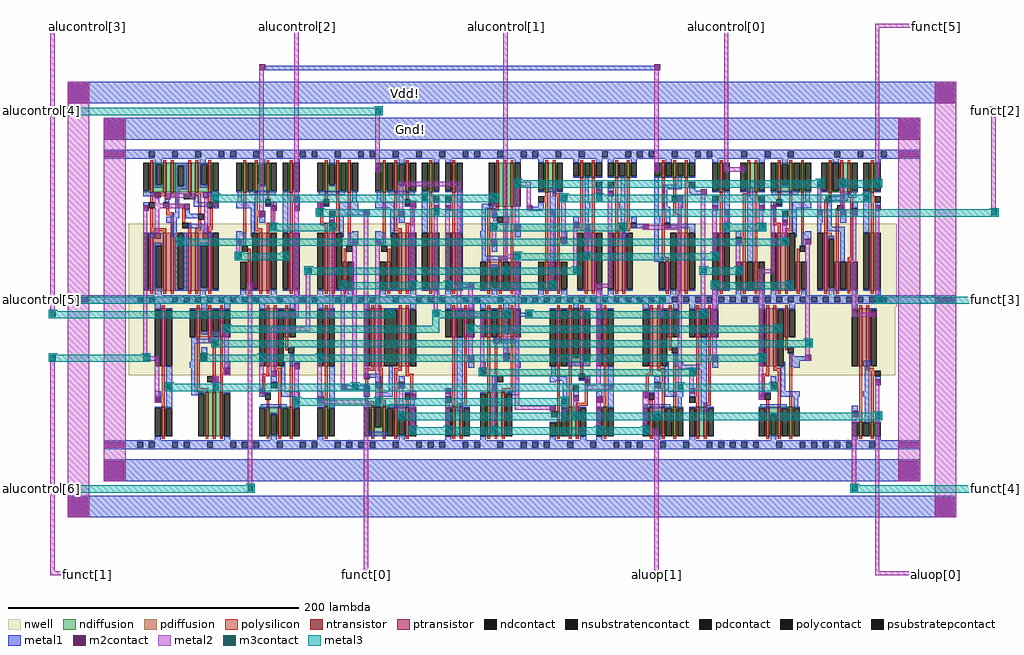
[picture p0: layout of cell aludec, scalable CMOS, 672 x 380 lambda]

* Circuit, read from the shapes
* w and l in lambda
.subckt aludec Gnd! Vdd! alucontrol[0] alucontrol[1] alucontrol[2] alucontrol[3] alucontrol[4] alucontrol[5] alucontrol[6] aluop[0] aluop[1] funct[0] funct[1] funct[2] funct[3] funct[4] funct[5]
M1 Gnd! funct[1] n1 Gnd! nfet w=20 l=2
M2 NAND3X1_1/B funct[1] Gnd! Gnd! nfet w=20 l=2
M3 n2 funct[1] Gnd! Gnd! nfet w=20 l=2
M4 OAI21X1_3/B n3 n2 Gnd! nfet w=20 l=2
M5 n4 XNOR2X1_0/A OAI21X1_3/B Gnd! nfet w=20 l=2
M6 Gnd! n1 n4 Gnd! nfet w=20 l=2
M7 n5 funct[0] OAI21X1_3/C Gnd! nfet w=30 l=2
M8 n3 XNOR2X1_0/A Gnd! Gnd! nfet w=20 l=2
M9 n6 NAND3X1_1/B n5 Gnd! nfet w=30 l=2
M10 Gnd! funct[2] n6 Gnd! nfet w=30 l=2
M11 n7 OAI21X1_0/C alucontrol[6] Gnd! nfet w=20 l=2
M12 Gnd! OAI21X1_0/B n7 Gnd! nfet w=20 l=2
M13 Gnd! funct[0] n8 Gnd! nfet w=20 l=2
M14 n7 OAI21X1_0/A Gnd! Gnd! nfet w=20 l=2
M15 n8 NOR2X1_0/B Gnd! Gnd! nfet w=20 l=2
M16 alucontrol[2] OAI21X1_2/C n8 Gnd! nfet w=20 l=2
M17 Gnd! alucontrol[2] OAI21X1_0/C Gnd! nfet w=20 l=2
M18 OAI21X1_0/A funct[0] Gnd! Gnd! nfet w=20 l=2
M19 Gnd! funct[2] n9 Gnd! nfet w=20 l=2
M20 n9 OAI21X1_0/A Gnd! Gnd! nfet w=20 l=2
M21 OAI22X1_0/D NAND3X1_1/B n9 Gnd! nfet w=20 l=2
M22 alucontrol[3] INVX2_2/A n10 Gnd! nfet w=20 l=2
M23 n10 OAI22X1_0/D alucontrol[3] Gnd! nfet w=20 l=2
M24 n11 OAI21X1_2/C alucontrol[4] Gnd! nfet w=20 l=2
M25 Gnd! aluop[0] n10 Gnd! nfet w=20 l=2
M26 Gnd! OAI21X1_2/B n11 Gnd! nfet w=20 l=2
M27 n10 aluop[1] Gnd! Gnd! nfet w=20 l=2
M28 n11 INVX2_2/A Gnd! Gnd! nfet w=20 l=2
M29 Gnd! funct[2] XNOR2X1_0/A Gnd! nfet w=20 l=2
M30 n12 aluop[1] Gnd! Gnd! nfet w=20 l=2
M31 NAND2X1_3/A INVX2_2/A Gnd! Gnd! nfet w=20 l=2
M32 OAI21X1_2/B NAND2X1_2/B n12 Gnd! nfet w=20 l=2
M33 n13 NAND2X1_3/A Gnd! Gnd! nfet w=30 l=2
M34 n14 aluop[1] n13 Gnd! nfet w=30 l=2
M35 n15 NAND3X1_0/C NOR2X1_0/B Gnd! nfet w=30 l=2
M36 OR2X1_0/A funct[2] n14 Gnd! nfet w=30 l=2
M37 n16 XNOR2X1_0/A n15 Gnd! nfet w=30 l=2
M38 Gnd! NAND2X1_0/A n16 Gnd! nfet w=30 l=2
M39 n17 NAND2X1_0/A Gnd! Gnd! nfet w=20 l=2
M40 INVX2_2/A NOR2X1_0/A n17 Gnd! nfet w=20 l=2
M41 OAI21X1_2/C alucontrol[1] Gnd! Gnd! nfet w=10 l=2
M42 n18 aluop[0] OAI21X1_2/C Gnd! nfet w=20 l=2
M43 Gnd! AOI21X1_0/A n18 Gnd! nfet w=20 l=2
M44 alucontrol[1] NOR2X1_0/B Gnd! Gnd! nfet w=10 l=2
M45 Gnd! NOR2X1_0/A alucontrol[1] Gnd! nfet w=10 l=2
M46 AOI21X1_0/A aluop[1] Gnd! Gnd! nfet w=20 l=2
M47 NAND3X1_0/C AOI21X1_0/A Gnd! Gnd! nfet w=10 l=2
M48 Gnd! NAND3X1_1/B NAND3X1_0/C Gnd! nfet w=10 l=2
M49 Gnd! aluop[1] n19 Gnd! nfet w=20 l=2
M50 n19 aluop[0] Gnd! Gnd! nfet w=20 l=2
M51 Gnd! n20 OAI21X1_0/B Gnd! nfet w=10 l=2
M52 alucontrol[5] OAI21X1_5/C n19 Gnd! nfet w=20 l=2
M53 n20 NAND3X1_1/B Gnd! Gnd! nfet w=10 l=2
M54 Gnd! OR2X1_0/A n20 Gnd! nfet w=10 l=2
M55 n21 NAND2X1_3/A Gnd! Gnd! nfet w=20 l=2
M56 OAI21X1_5/C NAND2X1_3/B n21 Gnd! nfet w=20 l=2
M57 NAND2X1_1/A alucontrol[1] Gnd! Gnd! nfet w=20 l=2
M58 n22 OR2X1_0/A alucontrol[0] Gnd! nfet w=20 l=2
M59 Gnd! NAND2X1_1/A n22 Gnd! nfet w=20 l=2
M60 Gnd! funct[0] n23 Gnd! nfet w=20 l=2
M61 n23 NAND3X1_1/B Gnd! Gnd! nfet w=20 l=2
M62 Gnd! funct[0] n24 Gnd! nfet w=20 l=2
M63 NAND2X1_2/B OAI21X1_3/C n23 Gnd! nfet w=20 l=2
M64 n24 OAI21X1_3/B Gnd! Gnd! nfet w=20 l=2
M65 NAND2X1_3/B OAI21X1_3/C n24 Gnd! nfet w=20 l=2
M66 Gnd! n25 NAND2X1_0/A Gnd! nfet w=20 l=2
M67 n26 funct[5] Gnd! Gnd! nfet w=20 l=2
M68 n25 AND2X2_0/A n26 Gnd! nfet w=20 l=2
M69 AND2X2_0/A funct[4] Gnd! Gnd! nfet w=10 l=2
M70 Gnd! aluop[0] AND2X2_0/A Gnd! nfet w=10 l=2
M71 Gnd! funct[3] NOR2X1_0/A Gnd! nfet w=20 l=2
M72 Vdd! funct[1] n1 Vdd! pfet w=40 l=2
M73 NAND3X1_1/B funct[1] Vdd! Vdd! pfet w=40 l=2
M74 n27 funct[1] Vdd! Vdd! pfet w=40 l=2
M75 OAI21X1_3/B XNOR2X1_0/A n27 Vdd! pfet w=40 l=2
M76 n28 n3 OAI21X1_3/B Vdd! pfet w=40 l=2
M77 Vdd! n1 n28 Vdd! pfet w=40 l=2
M78 Vdd! funct[0] OAI21X1_3/C Vdd! pfet w=20 l=2
M79 OAI21X1_3/C NAND3X1_1/B Vdd! Vdd! pfet w=20 l=2
M80 n3 XNOR2X1_0/A Vdd! Vdd! pfet w=40 l=2
M81 Vdd! funct[2] OAI21X1_3/C Vdd! pfet w=20 l=2
M82 alucontrol[6] OAI21X1_0/C Vdd! Vdd! pfet w=20 l=2
M83 n29 OAI21X1_0/B alucontrol[6] Vdd! pfet w=40 l=2
M84 n30 funct[0] Vdd! Vdd! pfet w=40 l=2
M85 Vdd! OAI21X1_0/A n29 Vdd! pfet w=40 l=2
M86 alucontrol[2] NOR2X1_0/B n30 Vdd! pfet w=40 l=2
M87 Vdd! OAI21X1_2/C alucontrol[2] Vdd! pfet w=20 l=2
M88 Vdd! alucontrol[2] OAI21X1_0/C Vdd! pfet w=40 l=2
M89 OAI21X1_0/A funct[0] Vdd! Vdd! pfet w=40 l=2
M90 n31 funct[2] Vdd! Vdd! pfet w=40 l=2
M91 OAI22X1_0/D OAI21X1_0/A n31 Vdd! pfet w=40 l=2
M92 Vdd! NAND3X1_1/B OAI22X1_0/D Vdd! pfet w=20 l=2
M93 n32 INVX2_2/A Vdd! Vdd! pfet w=40 l=2
M94 alucontrol[3] OAI22X1_0/D n32 Vdd! pfet w=40 l=2
M95 alucontrol[4] OAI21X1_2/C Vdd! Vdd! pfet w=20 l=2
M96 n33 aluop[0] alucontrol[3] Vdd! pfet w=40 l=2
M97 n34 OAI21X1_2/B alucontrol[4] Vdd! pfet w=40 l=2
M98 Vdd! aluop[1] n33 Vdd! pfet w=40 l=2
M99 Vdd! INVX2_2/A n34 Vdd! pfet w=40 l=2
M100 Vdd! funct[2] XNOR2X1_0/A Vdd! pfet w=40 l=2
M101 OAI21X1_2/B aluop[1] Vdd! Vdd! pfet w=20 l=2
M102 NAND2X1_3/A INVX2_2/A Vdd! Vdd! pfet w=40 l=2
M103 Vdd! NAND2X1_2/B OAI21X1_2/B Vdd! pfet w=20 l=2
M104 OR2X1_0/A NAND2X1_3/A Vdd! Vdd! pfet w=20 l=2
M105 Vdd! NAND3X1_0/C NOR2X1_0/B Vdd! pfet w=20 l=2
M106 Vdd! aluop[1] OR2X1_0/A Vdd! pfet w=20 l=2
M107 NOR2X1_0/B XNOR2X1_0/A Vdd! Vdd! pfet w=20 l=2
M108 OR2X1_0/A funct[2] Vdd! Vdd! pfet w=20 l=2
M109 Vdd! NAND2X1_0/A NOR2X1_0/B Vdd! pfet w=20 l=2
M110 INVX2_2/A NAND2X1_0/A Vdd! Vdd! pfet w=20 l=2
M111 n35 alucontrol[1] OAI21X1_2/C Vdd! pfet w=40 l=2
M112 Vdd! NOR2X1_0/A INVX2_2/A Vdd! pfet w=20 l=2
M113 Vdd! aluop[0] n35 Vdd! pfet w=40 l=2
M114 n35 AOI21X1_0/A Vdd! Vdd! pfet w=40 l=2
M115 n36 NOR2X1_0/B alucontrol[1] Vdd! pfet w=40 l=2
M116 Vdd! NOR2X1_0/A n36 Vdd! pfet w=40 l=2
M117 AOI21X1_0/A aluop[1] Vdd! Vdd! pfet w=40 l=2
M118 n37 AOI21X1_0/A Vdd! Vdd! pfet w=40 l=2
M119 NAND3X1_0/C NAND3X1_1/B n37 Vdd! pfet w=40 l=2
M120 n38 aluop[1] Vdd! Vdd! pfet w=40 l=2
M121 alucontrol[5] aluop[0] n38 Vdd! pfet w=40 l=2
M122 Vdd! n20 OAI21X1_0/B Vdd! pfet w=20 l=2
M123 Vdd! OAI21X1_5/C alucontrol[5] Vdd! pfet w=20 l=2
M124 n39 NAND3X1_1/B Vdd! Vdd! pfet w=40 l=2
M125 n20 OR2X1_0/A n39 Vdd! pfet w=40 l=2
M126 OAI21X1_5/C NAND2X1_3/A Vdd! Vdd! pfet w=20 l=2
M127 Vdd! NAND2X1_3/B OAI21X1_5/C Vdd! pfet w=20 l=2
M128 NAND2X1_1/A alucontrol[1] Vdd! Vdd! pfet w=40 l=2
M129 alucontrol[0] OR2X1_0/A Vdd! Vdd! pfet w=20 l=2
M130 Vdd! NAND2X1_1/A alucontrol[0] Vdd! pfet w=20 l=2
M131 n40 funct[0] Vdd! Vdd! pfet w=40 l=2
M132 NAND2X1_2/B NAND3X1_1/B n40 Vdd! pfet w=40 l=2
M133 n41 funct[0] Vdd! Vdd! pfet w=40 l=2
M134 Vdd! OAI21X1_3/C NAND2X1_2/B Vdd! pfet w=20 l=2
M135 NAND2X1_3/B OAI21X1_3/B n41 Vdd! pfet w=40 l=2
M136 Vdd! OAI21X1_3/C NAND2X1_3/B Vdd! pfet w=20 l=2
M137 Vdd! n25 NAND2X1_0/A Vdd! pfet w=40 l=2
M138 n25 funct[5] Vdd! Vdd! pfet w=20 l=2
M139 Vdd! AND2X2_0/A n25 Vdd! pfet w=20 l=2
M140 n42 funct[4] Vdd! Vdd! pfet w=40 l=2
M141 AND2X2_0/A aluop[0] n42 Vdd! pfet w=40 l=2
M142 Vdd! funct[3] NOR2X1_0/A Vdd! pfet w=40 l=2
.ends

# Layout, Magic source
magic
tech scmos
<< metal1 >>
rect 162 348 437 351
rect 30 325 642 340
rect 55 300 617 315
rect 55 287 617 293
rect 459 262 469 265
rect 449 257 454 261
rect 217 251 230 253
rect 346 251 357 254
rect 217 248 237 251
rect 323 244 326 249
rect 546 243 550 252
rect 562 243 566 252
rect 146 228 153 236
rect 223 228 230 236
rect 242 228 249 236
rect 386 232 390 242
rect 410 232 414 242
rect 418 239 429 242
rect 535 228 542 236
rect 298 198 309 201
rect 30 187 642 193
rect 339 178 349 181
rect 130 158 134 168
rect 527 148 541 151
rect 451 142 469 145
rect 527 144 534 148
rect 234 136 245 139
rect 218 128 237 131
rect 322 128 326 137
rect 370 112 374 122
rect 55 87 617 93
rect 55 65 617 80
rect 30 40 642 55
<< metal2 >>
rect 18 377 45 380
rect 18 178 21 377
rect 18 3 21 151
rect 30 40 45 340
rect 55 65 70 315
rect 82 151 85 254
rect 162 247 165 351
rect 170 238 173 254
rect 146 218 149 231
rect 82 148 93 151
rect 90 119 93 148
rect 138 138 141 171
rect 130 128 134 137
rect 154 58 157 201
rect 186 181 189 380
rect 242 278 245 321
rect 258 268 301 271
rect 202 248 206 257
rect 176 178 189 181
rect 194 171 197 211
rect 210 178 213 241
rect 170 168 197 171
rect 162 125 165 151
rect 170 137 173 168
rect 186 118 189 145
rect 202 121 205 151
rect 218 128 221 201
rect 226 128 229 231
rect 234 136 237 251
rect 258 247 261 268
rect 202 118 237 121
rect 242 118 245 231
rect 266 198 269 257
rect 282 178 285 251
rect 290 198 293 254
rect 298 178 301 268
rect 322 246 325 261
rect 322 228 325 241
rect 330 221 333 380
rect 434 278 437 351
rect 482 281 485 380
rect 586 377 629 380
rect 482 278 496 281
rect 338 268 349 271
rect 338 238 341 268
rect 346 251 349 268
rect 330 218 341 221
rect 306 181 309 201
rect 306 178 317 181
rect 306 148 309 171
rect 314 138 317 178
rect 330 148 333 181
rect 18 0 45 3
rect 234 0 237 118
rect 258 108 261 132
rect 266 98 269 124
rect 290 98 293 128
rect 322 98 325 131
rect 338 117 341 218
rect 362 198 365 251
rect 370 228 373 261
rect 378 208 381 243
rect 386 218 389 241
rect 402 201 405 264
rect 450 241 453 261
rect 426 238 453 241
rect 394 198 405 201
rect 394 131 397 198
rect 437 178 440 191
rect 386 128 405 131
rect 338 114 365 117
rect 378 108 381 123
rect 394 98 397 123
rect 426 118 430 126
rect 426 101 429 118
rect 434 108 437 132
rect 450 128 453 238
rect 466 178 469 265
rect 474 218 477 254
rect 482 238 485 251
rect 506 238 509 254
rect 490 208 493 231
rect 514 211 517 254
rect 546 248 549 271
rect 562 248 565 271
rect 586 268 589 377
rect 522 228 525 244
rect 506 208 517 211
rect 474 148 477 201
rect 458 125 461 141
rect 506 121 509 208
rect 538 148 541 231
rect 570 181 573 251
rect 586 188 589 254
rect 570 178 586 181
rect 426 98 437 101
rect 434 0 437 98
rect 570 58 573 112
rect 586 3 589 134
rect 602 65 617 315
rect 627 40 642 340
rect 666 248 669 321
rect 586 0 629 3
<< metal3 >>
rect 0 317 246 322
rect 667 317 672 322
rect 337 267 550 272
rect 561 267 590 272
rect 129 257 326 262
rect 369 257 582 262
rect 201 247 670 252
rect 169 237 214 242
rect 321 237 414 242
rect 481 237 510 242
rect 105 227 526 232
rect 145 217 182 222
rect 337 217 478 222
rect 193 207 382 212
rect 465 207 494 212
rect 217 197 366 202
rect 473 197 529 202
rect 0 187 441 192
rect 585 187 672 192
rect 17 177 254 182
rect 281 177 334 182
rect 345 177 470 182
rect 281 172 286 177
rect 137 167 286 172
rect 305 167 521 172
rect 129 157 542 162
rect 17 147 86 152
rect 121 147 510 152
rect 313 137 462 142
rect 97 127 518 132
rect 185 117 374 122
rect 257 107 590 112
rect 265 97 430 102
rect 0 57 158 62
rect 569 57 672 62
use $$M2_M1  $$M2_M1_0
transform 1 0 164 0 1 350
box -2 -2 2 2
use $$M2_M1  $$M2_M1_1
transform 1 0 436 0 1 350
box -2 -2 2 2
use $$M2_M1_1500_1500_3_3  $$M2_M1_1500_1500_3_3_0
transform 1 0 37 0 1 332
box -7 -7 7 7
use $$M2_M1_1500_1500_3_3  $$M2_M1_1500_1500_3_3_1
transform 1 0 634 0 1 332
box -7 -7 7 7
use $$M3_M2  $$M3_M2_0
transform 1 0 244 0 1 320
box -3 -3 3 3
use $$M3_M2  $$M3_M2_1
transform 1 0 668 0 1 320
box -3 -3 3 3
use $$M2_M1_1500_1500_3_3  $$M2_M1_1500_1500_3_3_2
transform 1 0 62 0 1 307
box -7 -7 7 7
use $$M2_M1_1500_1500_3_3  $$M2_M1_1500_1500_3_3_3
transform 1 0 609 0 1 307
box -7 -7 7 7
use $$M2_M1_1500_1500_3_1  $$M2_M1_1500_1500_3_1_0
transform 1 0 62 0 1 290
box -7 -2 7 2
use $$M3_M2  $$M3_M2_2
transform 1 0 132 0 1 260
box -3 -3 3 3
use $$M2_M1  $$M2_M1_3
transform 1 0 84 0 1 253
box -2 -2 2 2
use $$M2_M1  $$M2_M1_2
transform 1 0 132 0 1 256
box -2 -2 2 2
use $$M2_M1  $$M2_M1_4
transform 1 0 108 0 1 230
box -2 -2 2 2
use $$M3_M2  $$M3_M2_3
transform 1 0 108 0 1 230
box -3 -3 3 3
use $$M2_M1  $$M2_M1_5
transform 1 0 172 0 1 253
box -2 -2 2 2
use $$M2_M1  $$M2_M1_6
transform 1 0 188 0 1 253
box -2 -2 2 2
use $$M2_M1  $$M2_M1_7
transform 1 0 164 0 1 249
box -2 -2 2 2
use $$M2_M1  $$M2_M1_8
transform 1 0 148 0 1 230
box -2 -2 2 2
use $$M3_M2  $$M3_M2_5
transform 1 0 148 0 1 220
box -3 -3 3 3
use $$M3_M2  $$M3_M2_4
transform 1 0 172 0 1 240
box -3 -3 3 3
use $$M2_M1  $$M2_M1_9
transform 1 0 180 0 1 220
box -2 -2 2 2
use $$M3_M2  $$M3_M2_6
transform 1 0 180 0 1 220
box -3 -3 3 3
use $$M2_M1  $$M2_M1_10
transform 1 0 158 0 1 200
box -2 -2 2 2
use $$M2_M1  $$M2_M1_11
transform 1 0 204 0 1 255
box -2 -2 2 2
use $$M3_M2  $$M3_M2_7
transform 1 0 204 0 1 250
box -3 -3 3 3
use $$M3_M2  $$M3_M2_10
transform 1 0 196 0 1 210
box -3 -3 3 3
use $$M2_M1  $$M2_M1_16
transform 1 0 212 0 1 243
box -2 -2 2 2
use $$M3_M2  $$M3_M2_9
transform 1 0 212 0 1 240
box -3 -3 3 3
use $$M2_M1  $$M2_M1_12
transform 1 0 244 0 1 280
box -2 -2 2 2
use $$M2_M1  $$M2_M1_13
transform 1 0 236 0 1 250
box -2 -2 2 2
use $$M2_M1  $$M2_M1_17
transform 1 0 228 0 1 230
box -2 -2 2 2
use $$M3_M2  $$M3_M2_11
transform 1 0 220 0 1 200
box -3 -3 3 3
use $$M2_M1  $$M2_M1_14
transform 1 0 276 0 1 260
box -2 -2 2 2
use $$M2_M1  $$M2_M1_15
transform 1 0 268 0 1 256
box -2 -2 2 2
use $$M3_M2  $$M3_M2_8
transform 1 0 276 0 1 260
box -3 -3 3 3
use $$M2_M1  $$M2_M1_18
transform 1 0 260 0 1 249
box -2 -2 2 2
use $$M2_M1  $$M2_M1_19
transform 1 0 244 0 1 230
box -2 -2 2 2
use $$M3_M2  $$M3_M2_12
transform 1 0 268 0 1 200
box -3 -3 3 3
use $$M2_M1  $$M2_M1_20
transform 1 0 284 0 1 253
box -2 -2 2 2
use $$M2_M1  $$M2_M1_21
transform 1 0 292 0 1 253
box -2 -2 2 2
use $$M3_M2  $$M3_M2_13
transform 1 0 284 0 1 250
box -3 -3 3 3
use $$M3_M2  $$M3_M2_14
transform 1 0 292 0 1 200
box -3 -3 3 3
use $$M2_M1  $$M2_M1_27
transform 1 0 308 0 1 200
box -2 -2 2 2
use $$M3_M2  $$M3_M2_15
transform 1 0 340 0 1 270
box -3 -3 3 3
use $$M3_M2  $$M3_M2_16
transform 1 0 324 0 1 260
box -3 -3 3 3
use $$M2_M1  $$M2_M1_23
transform 1 0 324 0 1 248
box -2 -2 2 2
use $$M3_M2  $$M3_M2_17
transform 1 0 324 0 1 240
box -3 -3 3 3
use $$M2_M1  $$M2_M1_22
transform 1 0 348 0 1 253
box -2 -2 2 2
use $$M2_M1  $$M2_M1_24
transform 1 0 340 0 1 240
box -2 -2 2 2
use $$M2_M1  $$M2_M1_25
transform 1 0 324 0 1 230
box -2 -2 2 2
use $$M3_M2  $$M3_M2_18
transform 1 0 340 0 1 220
box -3 -3 3 3
use $$M2_M1  $$M2_M1_26
transform 1 0 332 0 1 210
box -2 -2 2 2
use $$M3_M2  $$M3_M2_19
transform 1 0 332 0 1 210
box -3 -3 3 3
use $$M3_M2  $$M3_M2_20
transform 1 0 372 0 1 260
box -3 -3 3 3
use $$M2_M1  $$M2_M1_28
transform 1 0 364 0 1 250
box -2 -2 2 2
use $$M2_M1  $$M2_M1_29
transform 1 0 380 0 1 241
box -2 -2 2 2
use $$M2_M1  $$M2_M1_30
transform 1 0 396 0 1 264
box -2 -2 2 2
use $$M3_M2  $$M3_M2_21
transform 1 0 396 0 1 260
box -3 -3 3 3
use $$M2_M1  $$M2_M1_31
transform 1 0 404 0 1 263
box -2 -2 2 2
use $$M2_M1  $$M2_M1_32
transform 1 0 388 0 1 240
box -2 -2 2 2
use $$M2_M1  $$M2_M1_33
transform 1 0 372 0 1 230
box -2 -2 2 2
use $$M3_M2  $$M3_M2_22
transform 1 0 388 0 1 220
box -3 -3 3 3
use $$M3_M2  $$M3_M2_23
transform 1 0 380 0 1 210
box -3 -3 3 3
use $$M3_M2  $$M3_M2_24
transform 1 0 364 0 1 200
box -3 -3 3 3
use $$M2_M1  $$M2_M1_37
transform 1 0 412 0 1 240
box -2 -2 2 2
use $$M3_M2  $$M3_M2_25
transform 1 0 412 0 1 240
box -3 -3 3 3
use $$M2_M1  $$M2_M1_34
transform 1 0 436 0 1 280
box -2 -2 2 2
use $$M2_M1  $$M2_M1_38
transform 1 0 428 0 1 240
box -2 -2 2 2
use $$M2_M1  $$M2_M1_36
transform 1 0 452 0 1 260
box -2 -2 2 2
use $$M2_M1  $$M2_M1_35
transform 1 0 468 0 1 264
box -2 -2 2 2
use $$M2_M1  $$M2_M1_39
transform 1 0 495 0 1 280
box -2 -2 2 2
use $$M2_M1  $$M2_M1_40
transform 1 0 476 0 1 253
box -2 -2 2 2
use $$M2_M1  $$M2_M1_41
transform 1 0 484 0 1 250
box -2 -2 2 2
use $$M3_M2  $$M3_M2_26
transform 1 0 484 0 1 240
box -3 -3 3 3
use $$M2_M1  $$M2_M1_42
transform 1 0 492 0 1 230
box -2 -2 2 2
use $$M3_M2  $$M3_M2_27
transform 1 0 476 0 1 220
box -3 -3 3 3
use $$M3_M2  $$M3_M2_28
transform 1 0 468 0 1 210
box -3 -3 3 3
use $$M3_M2  $$M3_M2_29
transform 1 0 492 0 1 210
box -3 -3 3 3
use $$M3_M2  $$M3_M2_30
transform 1 0 476 0 1 200
box -3 -3 3 3
use $$M2_M1  $$M2_M1_43
transform 1 0 508 0 1 253
box -2 -2 2 2
use $$M2_M1  $$M2_M1_44
transform 1 0 516 0 1 253
box -2 -2 2 2
use $$M2_M1_1500_1500_3_1  $$M2_M1_1500_1500_3_1_1
transform 1 0 609 0 1 290
box -7 -2 7 2
use $$M3_M2  $$M3_M2_32
transform 1 0 548 0 1 270
box -3 -3 3 3
use $$M3_M2  $$M3_M2_33
transform 1 0 564 0 1 270
box -3 -3 3 3
use $$M3_M2  $$M3_M2_34
transform 1 0 588 0 1 270
box -3 -3 3 3
use $$M3_M2  $$M3_M2_31
transform 1 0 508 0 1 240
box -3 -3 3 3
use $$M2_M1  $$M2_M1_45
transform 1 0 524 0 1 243
box -2 -2 2 2
use $$M3_M2  $$M3_M2_36
transform 1 0 524 0 1 230
box -3 -3 3 3
use $$M2_M1  $$M2_M1_46
transform 1 0 580 0 1 260
box -2 -2 2 2
use $$M3_M2  $$M3_M2_35
transform 1 0 580 0 1 260
box -3 -3 3 3
use $$M2_M1  $$M2_M1_48
transform 1 0 548 0 1 250
box -2 -2 2 2
use $$M2_M1  $$M2_M1_49
transform 1 0 564 0 1 250
box -2 -2 2 2
use $$M2_M1  $$M2_M1_50
transform 1 0 572 0 1 250
box -2 -2 2 2
use $$M2_M1  $$M2_M1_47
transform 1 0 588 0 1 253
box -2 -2 2 2
use $$M2_M1  $$M2_M1_51
transform 1 0 540 0 1 230
box -2 -2 2 2
use $$M2_M1  $$M2_M1_52
transform 1 0 527 0 1 200
box -2 -2 2 2
use $$M3_M2  $$M3_M2_37
transform 1 0 527 0 1 200
box -3 -3 3 3
use $$M3_M2  $$M3_M2_38
transform 1 0 668 0 1 250
box -3 -3 3 3
use $$M2_M1_1500_1500_3_1  $$M2_M1_1500_1500_3_1_2
transform 1 0 37 0 1 190
box -7 -2 7 2
use XNOR2X1  XNOR2X1_0
transform -1 0 136 0 -1 290
box -8 -3 64 105
use FILL  FILL_0
transform 1 0 136 0 -1 290
box -8 -3 16 105
use OAI21X1  OAI21X1_0
transform -1 0 176 0 -1 290
box -8 -3 34 105
use INVX2  INVX2_0
transform -1 0 192 0 -1 290
box -9 -3 26 105
use FILL  FILL_1
transform 1 0 192 0 -1 290
box -8 -3 16 105
use OAI21X1  OAI21X1_1
transform 1 0 200 0 -1 290
box -8 -3 34 105
use FILL  FILL_2
transform 1 0 232 0 -1 290
box -8 -3 16 105
use OAI21X1  OAI21X1_2
transform -1 0 272 0 -1 290
box -8 -3 34 105
use INVX2  INVX2_1
transform -1 0 288 0 -1 290
box -9 -3 26 105
use INVX2  INVX2_2
transform 1 0 288 0 -1 290
box -9 -3 26 105
use FILL  FILL_3
transform 1 0 304 0 -1 290
box -8 -3 16 105
use NAND3X1  NAND3X1_0
transform -1 0 344 0 -1 290
box -8 -3 40 105
use FILL  FILL_4
transform 1 0 344 0 -1 290
box -8 -3 16 105
use NAND2X1  NAND2X1_0
transform 1 0 352 0 -1 290
box -8 -3 32 105
use NOR2X1  NOR2X1_0
transform -1 0 400 0 -1 290
box -8 -3 32 105
use NOR2X1  NOR2X1_1
transform 1 0 400 0 -1 290
box -8 -3 32 105
use $$M3_M2  $$M3_M2_39
transform 1 0 439 0 1 190
box -3 -3 3 3
use FILL  FILL_5
transform 1 0 424 0 -1 290
box -8 -3 16 105
use OR2X1  OR2X1_0
transform -1 0 464 0 -1 290
box -8 -3 40 105
use FILL  FILL_6
transform 1 0 464 0 -1 290
box -8 -3 16 105
use INVX2  INVX2_3
transform 1 0 472 0 -1 290
box -9 -3 26 105
use NAND2X1  NAND2X1_1
transform -1 0 512 0 -1 290
box -8 -3 32 105
use OAI21X1  OAI21X1_3
transform 1 0 512 0 -1 290
box -8 -3 34 105
use AND2X2  AND2X2_0
transform -1 0 576 0 -1 290
box -8 -3 40 105
use $$M3_M2  $$M3_M2_40
transform 1 0 588 0 1 190
box -3 -3 3 3
use INVX2  INVX2_4
transform -1 0 592 0 -1 290
box -9 -3 26 105
use $$M2_M1_1500_1500_3_1  $$M2_M1_1500_1500_3_1_3
transform 1 0 634 0 1 190
box -7 -2 7 2
use $$M3_M2  $$M3_M2_41
transform 1 0 20 0 1 180
box -3 -3 3 3
use $$M3_M2  $$M3_M2_42
transform 1 0 20 0 1 150
box -3 -3 3 3
use $$M2_M1_1500_1500_3_1  $$M2_M1_1500_1500_3_1_4
transform 1 0 62 0 1 90
box -7 -2 7 2
use $$M3_M2  $$M3_M2_43
transform 1 0 84 0 1 150
box -3 -3 3 3
use $$M2_M1  $$M2_M1_53
transform 1 0 100 0 1 130
box -2 -2 2 2
use $$M3_M2  $$M3_M2_44
transform 1 0 100 0 1 130
box -3 -3 3 3
use $$M2_M1  $$M2_M1_54
transform 1 0 92 0 1 121
box -2 -2 2 2
use FILL  FILL_7
transform -1 0 88 0 1 90
box -8 -3 16 105
use INVX2  INVX2_5
transform 1 0 88 0 1 90
box -9 -3 26 105
use FILL  FILL_8
transform -1 0 112 0 1 90
box -8 -3 16 105
use $$M3_M2  $$M3_M2_45
transform 1 0 140 0 1 170
box -3 -3 3 3
use $$M2_M1  $$M2_M1_56
transform 1 0 132 0 1 160
box -2 -2 2 2
use $$M3_M2  $$M3_M2_46
transform 1 0 132 0 1 160
box -3 -3 3 3
use $$M2_M1  $$M2_M1_57
transform 1 0 124 0 1 150
box -2 -2 2 2
use $$M3_M2  $$M3_M2_47
transform 1 0 124 0 1 150
box -3 -3 3 3
use $$M2_M1  $$M2_M1_59
transform 1 0 140 0 1 140
box -2 -2 2 2
use $$M2_M1  $$M2_M1_61
transform 1 0 132 0 1 135
box -2 -2 2 2
use $$M3_M2  $$M3_M2_49
transform 1 0 132 0 1 130
box -3 -3 3 3
use NAND3X1  NAND3X1_1
transform -1 0 144 0 1 90
box -8 -3 40 105
use FILL  FILL_9
transform -1 0 152 0 1 90
box -8 -3 16 105
use $$M2_M1  $$M2_M1_55
transform 1 0 177 0 1 180
box -2 -2 2 2
use $$M3_M2  $$M3_M2_48
transform 1 0 164 0 1 150
box -3 -3 3 3
use $$M2_M1  $$M2_M1_58
transform 1 0 188 0 1 144
box -2 -2 2 2
use $$M2_M1  $$M2_M1_60
transform 1 0 172 0 1 139
box -2 -2 2 2
use $$M2_M1  $$M2_M1_62
transform 1 0 164 0 1 127
box -2 -2 2 2
use FILL  FILL_10
transform -1 0 160 0 1 90
box -8 -3 16 105
use $$M3_M2  $$M3_M2_50
transform 1 0 188 0 1 120
box -3 -3 3 3
use OAI21X1  OAI21X1_4
transform 1 0 160 0 1 90
box -8 -3 34 105
use $$M2_M1  $$M2_M1_63
transform 1 0 212 0 1 180
box -2 -2 2 2
use $$M3_M2  $$M3_M2_53
transform 1 0 204 0 1 150
box -3 -3 3 3
use $$M2_M1  $$M2_M1_75
transform 1 0 204 0 1 121
box -2 -2 2 2
use FILL  FILL_11
transform -1 0 200 0 1 90
box -8 -3 16 105
use $$M2_M1  $$M2_M1_64
transform 1 0 252 0 1 180
box -2 -2 2 2
use $$M3_M2  $$M3_M2_51
transform 1 0 252 0 1 180
box -3 -3 3 3
use $$M2_M1  $$M2_M1_66
transform 1 0 236 0 1 137
box -2 -2 2 2
use $$M2_M1  $$M2_M1_68
transform 1 0 220 0 1 130
box -2 -2 2 2
use $$M3_M2  $$M3_M2_54
transform 1 0 228 0 1 130
box -3 -3 3 3
use INVX2  INVX2_6
transform 1 0 200 0 1 90
box -9 -3 26 105
use FILL  FILL_12
transform -1 0 224 0 1 90
box -8 -3 16 105
use FILL  FILL_13
transform -1 0 232 0 1 90
box -8 -3 16 105
use $$M2_M1  $$M2_M1_67
transform 1 0 260 0 1 131
box -2 -2 2 2
use $$M3_M2  $$M3_M2_59
transform 1 0 244 0 1 120
box -3 -3 3 3
use $$M2_M1  $$M2_M1_74
transform 1 0 268 0 1 123
box -2 -2 2 2
use $$M3_M2  $$M3_M2_60
transform 1 0 260 0 1 110
box -3 -3 3 3
use $$M3_M2  $$M3_M2_61
transform 1 0 268 0 1 100
box -3 -3 3 3
use OAI22X1  OAI22X1_0
transform -1 0 272 0 1 90
box -8 -3 46 105
use $$M3_M2  $$M3_M2_52
transform 1 0 284 0 1 180
box -3 -3 3 3
use FILL  FILL_14
transform -1 0 280 0 1 90
box -8 -3 16 105
use $$M2_M1  $$M2_M1_65
transform 1 0 300 0 1 180
box -2 -2 2 2
use $$M2_M1  $$M2_M1_73
transform 1 0 292 0 1 127
box -2 -2 2 2
use $$M3_M2  $$M3_M2_62
transform 1 0 292 0 1 100
box -3 -3 3 3
use FILL  FILL_15
transform -1 0 288 0 1 90
box -8 -3 16 105
use $$M3_M2  $$M3_M2_55
transform 1 0 332 0 1 180
box -3 -3 3 3
use $$M3_M2  $$M3_M2_57
transform 1 0 308 0 1 170
box -3 -3 3 3
use $$M2_M1  $$M2_M1_70
transform 1 0 308 0 1 150
box -2 -2 2 2
use $$M2_M1  $$M2_M1_71
transform 1 0 332 0 1 150
box -2 -2 2 2
use $$M2_M1  $$M2_M1_72
transform 1 0 316 0 1 140
box -2 -2 2 2
use $$M3_M2  $$M3_M2_58
transform 1 0 316 0 1 140
box -3 -3 3 3
use NAND2X1  NAND2X1_2
transform 1 0 288 0 1 90
box -8 -3 32 105
use $$M2_M1  $$M2_M1_76
transform 1 0 324 0 1 130
box -2 -2 2 2
use $$M3_M2  $$M3_M2_63
transform 1 0 324 0 1 100
box -3 -3 3 3
use $$M2_M1  $$M2_M1_69
transform 1 0 348 0 1 180
box -2 -2 2 2
use $$M3_M2  $$M3_M2_56
transform 1 0 348 0 1 180
box -3 -3 3 3
use NAND3X1  NAND3X1_2
transform 1 0 312 0 1 90
box -8 -3 40 105
use FILL  FILL_16
transform -1 0 352 0 1 90
box -8 -3 16 105
use $$M2_M1  $$M2_M1_77
transform 1 0 388 0 1 133
box -2 -2 2 2
use $$M2_M1  $$M2_M1_81
transform 1 0 372 0 1 120
box -2 -2 2 2
use $$M2_M1  $$M2_M1_78
transform 1 0 380 0 1 122
box -2 -2 2 2
use $$M3_M2  $$M3_M2_64
transform 1 0 372 0 1 120
box -3 -3 3 3
use $$M2_M1  $$M2_M1_80
transform 1 0 396 0 1 121
box -2 -2 2 2
use $$M2_M1  $$M2_M1_82
transform 1 0 364 0 1 115
box -2 -2 2 2
use FILL  FILL_17
transform -1 0 360 0 1 90
box -8 -3 16 105
use $$M3_M2  $$M3_M2_65
transform 1 0 380 0 1 110
box -3 -3 3 3
use $$M3_M2  $$M3_M2_66
transform 1 0 396 0 1 100
box -3 -3 3 3
use AOI21X1  AOI21X1_0
transform -1 0 392 0 1 90
box -7 -3 39 105
use $$M2_M1  $$M2_M1_79
transform 1 0 404 0 1 130
box -2 -2 2 2
use INVX2  INVX2_7
transform 1 0 392 0 1 90
box -9 -3 26 105
use FILL  FILL_18
transform -1 0 416 0 1 90
box -8 -3 16 105
use $$M2_M1  $$M2_M1_83
transform 1 0 439 0 1 180
box -2 -2 2 2
use $$M3_M2  $$M3_M2_67
transform 1 0 468 0 1 180
box -3 -3 3 3
use $$M2_M1  $$M2_M1_85
transform 1 0 476 0 1 150
box -2 -2 2 2
use $$M3_M2  $$M3_M2_68
transform 1 0 460 0 1 140
box -3 -3 3 3
use $$M2_M1  $$M2_M1_84
transform 1 0 436 0 1 131
box -2 -2 2 2
use $$M2_M1  $$M2_M1_86
transform 1 0 428 0 1 124
box -2 -2 2 2
use $$M3_M2  $$M3_M2_69
transform 1 0 452 0 1 130
box -3 -3 3 3
use $$M3_M2  $$M3_M2_70
transform 1 0 436 0 1 110
box -3 -3 3 3
use $$M3_M2  $$M3_M2_71
transform 1 0 428 0 1 100
box -3 -3 3 3
use FILL  FILL_19
transform -1 0 424 0 1 90
box -8 -3 16 105
use OAI21X1  OAI21X1_5
transform 1 0 424 0 1 90
box -8 -3 34 105
use $$M2_M1  $$M2_M1_87
transform 1 0 460 0 1 127
box -2 -2 2 2
use NAND2X1  NAND2X1_3
transform 1 0 456 0 1 90
box -8 -3 32 105
use FILL  FILL_20
transform -1 0 488 0 1 90
box -8 -3 16 105
use FILL  FILL_21
transform -1 0 496 0 1 90
box -8 -3 16 105
use $$M2_M1  $$M2_M1_88
transform 1 0 519 0 1 170
box -2 -2 2 2
use $$M3_M2  $$M3_M2_72
transform 1 0 519 0 1 170
box -3 -3 3 3
use $$M3_M2  $$M3_M2_74
transform 1 0 508 0 1 150
box -3 -3 3 3
use $$M2_M1  $$M2_M1_91
transform 1 0 516 0 1 131
box -2 -2 2 2
use $$M3_M2  $$M3_M2_75
transform 1 0 516 0 1 130
box -3 -3 3 3
use $$M2_M1  $$M2_M1_92
transform 1 0 508 0 1 123
box -2 -2 2 2
use FILL  FILL_22
transform -1 0 504 0 1 90
box -8 -3 16 105
use $$M3_M2  $$M3_M2_73
transform 1 0 540 0 1 160
box -3 -3 3 3
use OAI21X1  OAI21X1_6
transform 1 0 504 0 1 90
box -8 -3 34 105
use $$M2_M1  $$M2_M1_90
transform 1 0 540 0 1 150
box -2 -2 2 2
use FILL  FILL_23
transform -1 0 544 0 1 90
box -8 -3 16 105
use FILL  FILL_24
transform -1 0 552 0 1 90
box -8 -3 16 105
use FILL  FILL_25
transform -1 0 560 0 1 90
box -8 -3 16 105
use $$M2_M1  $$M2_M1_89
transform 1 0 585 0 1 180
box -2 -2 2 2
use $$M2_M1  $$M2_M1_93
transform 1 0 588 0 1 133
box -2 -2 2 2
use $$M2_M1  $$M2_M1_94
transform 1 0 572 0 1 111
box -2 -2 2 2
use FILL  FILL_26
transform -1 0 568 0 1 90
box -8 -3 16 105
use $$M3_M2  $$M3_M2_76
transform 1 0 588 0 1 110
box -3 -3 3 3
use NOR2X1  NOR2X1_2
transform 1 0 568 0 1 90
box -8 -3 32 105
use $$M2_M1_1500_1500_3_1  $$M2_M1_1500_1500_3_1_5
transform 1 0 609 0 1 90
box -7 -2 7 2
use $$M2_M1_1500_1500_3_3  $$M2_M1_1500_1500_3_3_4
transform 1 0 62 0 1 72
box -7 -7 7 7
use $$M2_M1_1500_1500_3_3  $$M2_M1_1500_1500_3_3_5
transform 1 0 609 0 1 72
box -7 -7 7 7
use $$M3_M2  $$M3_M2_77
transform 1 0 156 0 1 60
box -3 -3 3 3
use $$M3_M2  $$M3_M2_78
transform 1 0 572 0 1 60
box -3 -3 3 3
use $$M2_M1_1500_1500_3_3  $$M2_M1_1500_1500_3_3_6
transform 1 0 37 0 1 47
box -7 -7 7 7
use $$M2_M1_1500_1500_3_3  $$M2_M1_1500_1500_3_3_7
transform 1 0 634 0 1 47
box -7 -7 7 7
<< labels >>
flabel metal3 2 320 2 320 4 FreeSans 26 0 0 0 alucontrol[4]
flabel metal3 2 190 2 190 4 FreeSans 26 0 0 0 alucontrol[5]
flabel metal3 2 60 2 60 4 FreeSans 26 0 0 0 alucontrol[6]
flabel metal2 332 378 332 378 4 FreeSans 26 0 0 0 alucontrol[1]
flabel metal2 188 378 188 378 4 FreeSans 26 0 0 0 alucontrol[2]
flabel metal2 484 378 484 378 4 FreeSans 26 0 0 0 alucontrol[0]
flabel metal2 44 378 44 378 4 FreeSans 26 0 0 0 alucontrol[3]
flabel metal2 628 378 628 378 4 FreeSans 26 0 0 0 funct[5]
flabel metal3 669 320 669 320 4 FreeSans 26 0 0 0 funct[2]
flabel metal3 669 60 669 60 4 FreeSans 26 0 0 0 funct[4]
flabel metal3 669 190 669 190 4 FreeSans 26 0 0 0 funct[3]
flabel metal2 628 1 628 1 4 FreeSans 26 0 0 0 aluop[0]
flabel metal2 44 1 44 1 4 FreeSans 26 0 0 0 funct[1]
flabel metal2 236 1 236 1 4 FreeSans 26 0 0 0 funct[0]
flabel metal2 436 1 436 1 4 FreeSans 26 0 0 0 aluop[1]
rlabel metal1 263 332 263 332 1 Vdd!
rlabel metal1 266 307 266 307 1 Gnd!
<< end >>

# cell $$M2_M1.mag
magic
tech scmos
<< m2contact >>
rect -2 -2 2 2
<< end >>

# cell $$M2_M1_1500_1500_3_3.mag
magic
tech scmos
<< m2contact >>
rect -7 -7 7 7
<< end >>

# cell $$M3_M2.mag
magic
tech scmos
<< m3contact >>
rect -2 -2 2 2
<< metal3 >>
rect -3 2 3 3
rect -3 -2 -2 2
rect 2 -2 3 2
rect -3 -3 3 -2
<< end >>

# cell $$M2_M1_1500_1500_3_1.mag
magic
tech scmos
<< m2contact >>
rect -7 -2 7 2
<< end >>

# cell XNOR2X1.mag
magic
tech scmos
<< nwell >>
rect -8 48 64 105
<< ntransistor >>
rect 7 6 9 26
rect 16 6 18 26
rect 21 6 23 26
rect 33 6 35 26
rect 38 6 40 26
rect 47 6 49 26
<< ptransistor >>
rect 7 54 9 94
rect 16 54 18 94
rect 21 54 23 94
rect 33 54 35 94
rect 38 54 40 94
rect 47 54 49 94
<< ndiffusion >>
rect 2 25 7 26
rect 6 6 7 25
rect 9 21 16 26
rect 9 7 10 21
rect 14 7 16 21
rect 9 6 16 7
rect 18 6 21 26
rect 23 22 33 26
rect 23 8 26 22
rect 30 8 33 22
rect 23 6 33 8
rect 35 6 38 26
rect 40 21 47 26
rect 40 7 41 21
rect 45 7 47 21
rect 40 6 47 7
rect 49 25 54 26
rect 49 6 50 25
<< pdiffusion >>
rect 2 93 7 94
rect 6 54 7 93
rect 9 92 16 94
rect 9 63 10 92
rect 14 63 16 92
rect 9 54 16 63
rect 18 54 21 94
rect 23 93 33 94
rect 23 54 26 93
rect 30 54 33 93
rect 35 54 38 94
rect 40 92 47 94
rect 40 63 41 92
rect 45 63 47 92
rect 40 54 47 63
rect 49 93 54 94
rect 49 54 50 93
<< ndcontact >>
rect 2 6 6 25
rect 10 7 14 21
rect 26 8 30 22
rect 41 7 45 21
rect 50 6 54 25
<< pdcontact >>
rect 2 54 6 93
rect 10 63 14 92
rect 26 54 30 93
rect 41 63 45 92
rect 50 54 54 93
<< psubstratepcontact >>
rect -2 -2 2 2
rect 14 -2 18 2
rect 30 -2 34 2
rect 46 -2 50 2
<< nsubstratencontact >>
rect -2 98 2 102
rect 14 98 18 102
rect 30 98 34 102
rect 46 98 50 102
<< polysilicon >>
rect 7 94 9 96
rect 16 94 18 96
rect 21 94 23 96
rect 33 94 35 96
rect 38 94 40 96
rect 47 94 49 96
rect 7 52 9 54
rect 16 53 18 54
rect 6 50 9 52
rect 14 51 18 53
rect 6 37 8 50
rect 14 45 16 51
rect 21 47 23 54
rect 7 26 9 33
rect 14 29 16 41
rect 25 37 27 47
rect 33 42 35 54
rect 38 53 40 54
rect 47 53 49 54
rect 38 51 49 53
rect 33 40 38 42
rect 36 37 38 40
rect 47 37 49 51
rect 25 35 32 37
rect 14 27 18 29
rect 16 26 18 27
rect 21 27 22 29
rect 30 29 32 35
rect 47 29 49 33
rect 30 27 35 29
rect 21 26 23 27
rect 33 26 35 27
rect 38 27 49 29
rect 38 26 40 27
rect 47 26 49 27
rect 7 4 9 6
rect 16 4 18 6
rect 21 4 23 6
rect 33 4 35 6
rect 38 4 40 6
rect 47 4 49 6
<< polycontact >>
rect 23 47 27 51
rect 12 41 16 45
rect 6 33 10 37
rect 22 27 26 31
rect 36 33 40 37
rect 46 33 50 37
<< metal1 >>
rect -2 102 58 103
rect 2 98 14 102
rect 18 98 30 102
rect 34 98 46 102
rect 50 98 58 102
rect -2 97 58 98
rect 11 94 15 97
rect 2 93 6 94
rect 10 92 15 94
rect 14 63 15 92
rect 10 61 15 63
rect 24 93 32 94
rect 6 54 9 57
rect 24 54 26 93
rect 30 57 32 93
rect 41 92 46 97
rect 45 63 46 92
rect 41 61 46 63
rect 50 93 54 94
rect 30 54 34 57
rect 46 54 50 57
rect 10 51 13 54
rect 10 48 23 51
rect 31 47 34 54
rect 31 44 38 47
rect 16 41 25 44
rect 22 38 25 41
rect 29 43 38 44
rect 29 41 34 43
rect 2 33 6 37
rect 10 33 19 36
rect 16 31 19 33
rect 2 26 9 29
rect 16 28 18 31
rect 2 25 6 26
rect 29 24 32 41
rect 50 33 54 37
rect 36 31 39 33
rect 46 26 54 29
rect 10 21 15 23
rect 14 7 15 21
rect 10 6 15 7
rect 24 22 32 24
rect 50 25 54 26
rect 24 8 26 22
rect 30 8 32 22
rect 24 6 32 8
rect 41 21 46 23
rect 45 7 46 21
rect 11 3 15 6
rect 41 3 46 7
rect -2 2 58 3
rect 2 -2 14 2
rect 18 -2 30 2
rect 34 -2 46 2
rect 50 -2 58 2
rect -2 -3 58 -2
<< m2contact >>
rect 9 54 13 58
rect 42 54 46 58
rect 22 34 26 38
rect 9 26 13 30
rect 18 27 22 31
rect 35 27 39 31
rect 42 26 46 30
<< metal2 >>
rect 9 30 12 54
rect 43 37 46 54
rect 26 34 46 37
rect 22 27 35 30
rect 43 30 46 34
<< labels >>
flabel metal1 4 35 4 35 4 FreeSans 26 0 0 0 A
flabel metal1 52 35 52 35 4 FreeSans 26 0 0 0 B
flabel metal1 4 0 4 0 4 FreeSans 26 0 0 0 gnd
flabel metal1 4 100 4 100 4 FreeSans 26 0 0 0 vdd
flabel metal1 36 45 36 45 4 FreeSans 26 0 0 0 Y
<< end >>

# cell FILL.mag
magic
tech scmos
<< nwell >>
rect -8 48 16 105
<< psubstratepcontact >>
rect -2 -2 2 2
rect 6 -2 10 2
<< nsubstratencontact >>
rect -2 98 2 102
rect 6 98 10 102
<< metal1 >>
rect -2 102 10 103
rect 2 98 6 102
rect -2 97 10 98
rect -2 2 10 3
rect 2 -2 6 2
rect -2 -3 10 -2
<< labels >>
flabel metal1 4 100 4 100 4 FreeSans 26 0 0 0 vdd
flabel metal1 4 0 4 0 4 FreeSans 26 0 0 0 gnd
<< end >>

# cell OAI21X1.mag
magic
tech scmos
<< nwell >>
rect -8 48 34 105
<< ntransistor >>
rect 7 6 9 26
rect 15 6 17 26
rect 23 6 25 26
<< ptransistor >>
rect 7 54 9 94
rect 12 54 14 94
rect 20 74 22 94
<< ndiffusion >>
rect 2 25 7 26
rect 6 6 7 25
rect 9 21 15 26
rect 9 7 10 21
rect 14 7 15 21
rect 9 6 15 7
rect 17 25 23 26
rect 17 6 18 25
rect 22 6 23 25
rect 25 25 30 26
rect 25 6 26 25
<< pdiffusion >>
rect 2 93 7 94
rect 6 54 7 93
rect 9 54 12 94
rect 14 93 20 94
rect 14 54 15 93
rect 19 74 20 93
rect 22 93 27 94
rect 22 74 23 93
<< ndcontact >>
rect 2 6 6 25
rect 10 7 14 21
rect 18 6 22 25
rect 26 6 30 25
<< pdcontact >>
rect 2 54 6 93
rect 15 54 19 93
rect 23 74 27 93
<< psubstratepcontact >>
rect -2 -2 2 2
rect 14 -2 18 2
<< nsubstratencontact >>
rect -2 98 2 102
rect 14 98 18 102
<< polysilicon >>
rect 7 94 9 96
rect 12 94 14 96
rect 20 94 22 96
rect 20 65 22 74
rect 7 49 9 54
rect 12 53 14 54
rect 12 51 17 53
rect 4 47 9 49
rect 4 33 6 47
rect 15 43 17 51
rect 14 39 17 43
rect 7 26 9 31
rect 15 26 17 39
rect 23 26 25 63
rect 7 4 9 6
rect 15 4 17 6
rect 23 4 25 6
<< polycontact >>
rect 22 63 26 67
rect 10 39 14 43
rect 6 31 10 35
<< metal1 >>
rect -2 102 34 103
rect 2 98 14 102
rect 18 98 34 102
rect -2 97 34 98
rect 2 93 6 97
rect 15 93 19 94
rect 23 93 27 97
rect 23 57 26 63
rect 19 54 20 57
rect 23 54 30 57
rect 10 43 14 47
rect 17 37 20 54
rect 26 53 30 54
rect 2 36 6 37
rect 2 35 10 36
rect 2 33 6 35
rect 17 33 30 37
rect 3 26 21 28
rect 26 26 29 33
rect 2 25 22 26
rect 10 21 14 22
rect 10 3 14 7
rect 26 25 30 26
rect -2 2 34 3
rect 2 -2 14 2
rect 18 -2 34 2
rect -2 -3 34 -2
<< labels >>
flabel metal1 4 0 4 0 4 FreeSans 26 0 0 0 gnd
flabel metal1 4 100 4 100 4 FreeSans 26 0 0 0 vdd
flabel metal1 4 35 4 35 4 FreeSans 26 0 0 0 A
flabel metal1 12 45 12 45 4 FreeSans 26 0 0 0 B
flabel metal1 28 35 28 35 4 FreeSans 26 0 0 0 Y
flabel metal1 28 55 28 55 4 FreeSans 26 0 0 0 C
<< end >>

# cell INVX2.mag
magic
tech scmos
<< nwell >>
rect -9 48 26 105
<< ntransistor >>
rect 7 6 9 26
<< ptransistor >>
rect 7 54 9 94
<< ndiffusion >>
rect 2 25 7 26
rect 6 6 7 25
rect 9 25 14 26
rect 9 6 10 25
<< pdiffusion >>
rect 2 93 7 94
rect 6 54 7 93
rect 9 93 14 94
rect 9 54 10 93
<< ndcontact >>
rect 2 6 6 25
rect 10 6 14 25
<< pdcontact >>
rect 2 54 6 93
rect 10 54 14 93
<< psubstratepcontact >>
rect -2 -2 2 2
<< nsubstratencontact >>
rect -2 98 2 102
<< polysilicon >>
rect 7 94 9 96
rect 7 33 9 54
rect 6 29 9 33
rect 7 26 9 29
rect 7 4 9 6
<< polycontact >>
rect 2 29 6 33
<< metal1 >>
rect -2 102 18 103
rect 2 98 18 102
rect -2 97 18 98
rect 2 93 6 97
rect 10 93 14 94
rect 2 33 6 37
rect 2 25 6 26
rect 10 25 14 54
rect 2 3 6 6
rect -2 2 18 3
rect 2 -2 18 2
rect -2 -3 18 -2
<< labels >>
flabel metal1 4 100 4 100 4 FreeSans 26 0 0 0 vdd
flabel metal1 4 0 4 0 4 FreeSans 26 0 0 0 gnd
flabel metal1 12 45 12 45 4 FreeSans 26 0 0 0 Y
flabel metal1 4 35 4 35 4 FreeSans 26 0 0 0 A
<< end >>

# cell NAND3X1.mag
magic
tech scmos
<< nwell >>
rect -8 48 40 105
<< ntransistor >>
rect 7 6 9 36
rect 12 6 14 36
rect 17 6 19 36
<< ptransistor >>
rect 7 74 9 94
rect 15 74 17 94
rect 23 74 25 94
<< ndiffusion >>
rect 2 35 7 36
rect 6 6 7 35
rect 9 6 12 36
rect 14 6 17 36
rect 19 35 24 36
rect 19 6 20 35
<< pdiffusion >>
rect 2 93 7 94
rect 6 74 7 93
rect 9 93 15 94
rect 9 74 10 93
rect 14 74 15 93
rect 17 92 23 94
rect 17 78 18 92
rect 22 78 23 92
rect 17 74 23 78
rect 25 93 30 94
rect 25 74 26 93
<< ndcontact >>
rect 2 6 6 35
rect 20 6 24 35
<< pdcontact >>
rect 2 74 6 93
rect 10 74 14 93
rect 18 78 22 92
rect 26 74 30 93
<< psubstratepcontact >>
rect -2 -2 2 2
rect 14 -2 18 2
<< nsubstratencontact >>
rect -2 98 2 102
rect 14 98 18 102
<< polysilicon >>
rect 7 94 9 96
rect 15 94 17 96
rect 23 94 25 96
rect 7 53 9 74
rect 15 73 17 74
rect 6 49 9 53
rect 7 36 9 49
rect 12 71 17 73
rect 12 36 14 71
rect 23 63 25 74
rect 22 59 25 63
rect 23 39 25 59
rect 17 37 25 39
rect 17 36 19 37
rect 7 4 9 6
rect 12 4 14 6
rect 17 4 19 6
<< polycontact >>
rect 2 49 6 53
rect 18 59 22 63
rect 14 43 18 47
<< metal1 >>
rect -2 102 34 103
rect 2 98 14 102
rect 18 98 34 102
rect -2 97 34 98
rect 2 93 6 97
rect 10 93 14 94
rect 18 92 22 97
rect 18 76 22 78
rect 26 93 30 94
rect 11 73 14 74
rect 26 73 29 74
rect 11 70 29 73
rect 18 63 22 67
rect 26 57 29 70
rect 2 53 6 57
rect 26 53 30 57
rect 10 43 14 47
rect 26 37 29 53
rect 21 36 29 37
rect 2 35 6 36
rect 20 35 29 36
rect 24 34 29 35
rect 2 3 6 6
rect -2 2 34 3
rect 2 -2 14 2
rect 18 -2 34 2
rect -2 -3 34 -2
<< labels >>
flabel metal1 12 45 12 45 4 FreeSans 26 0 0 0 B
flabel metal1 4 100 4 100 4 FreeSans 26 0 0 0 vdd
flabel metal1 4 0 4 0 4 FreeSans 26 0 0 0 gnd
flabel metal1 4 55 4 55 4 FreeSans 26 0 0 0 A
flabel metal1 20 65 20 65 4 FreeSans 26 0 0 0 C
flabel metal1 28 55 28 55 4 FreeSans 26 0 0 0 Y
<< end >>

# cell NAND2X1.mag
magic
tech scmos
<< nwell >>
rect -8 48 32 105
<< ntransistor >>
rect 7 6 9 26
rect 12 6 14 26
<< ptransistor >>
rect 7 74 9 94
rect 15 74 17 94
<< ndiffusion >>
rect 2 25 7 26
rect 6 6 7 25
rect 9 6 12 26
rect 14 25 19 26
rect 14 6 15 25
<< pdiffusion >>
rect 2 93 7 94
rect 6 74 7 93
rect 9 93 15 94
rect 9 74 10 93
rect 14 74 15 93
rect 17 93 22 94
rect 17 74 18 93
<< ndcontact >>
rect 2 6 6 25
rect 15 6 19 25
<< pdcontact >>
rect 2 74 6 93
rect 10 74 14 93
rect 18 74 22 93
<< psubstratepcontact >>
rect -2 -2 2 2
rect 14 -2 18 2
<< nsubstratencontact >>
rect -2 98 2 102
rect 14 98 18 102
<< polysilicon >>
rect 7 94 9 96
rect 15 94 17 96
rect 7 33 9 74
rect 6 29 9 33
rect 15 61 17 74
rect 15 57 18 61
rect 15 29 17 57
rect 7 26 9 29
rect 12 27 17 29
rect 12 26 14 27
rect 7 4 9 6
rect 12 4 14 6
<< polycontact >>
rect 2 29 6 33
rect 18 57 22 61
<< metal1 >>
rect -2 102 26 103
rect 2 98 14 102
rect 18 98 26 102
rect -2 97 26 98
rect 2 93 6 97
rect 10 93 14 94
rect 18 93 22 97
rect 2 33 6 37
rect 10 26 14 74
rect 18 53 22 57
rect 2 25 6 26
rect 10 25 19 26
rect 10 23 15 25
rect 2 3 6 6
rect -2 2 26 3
rect 2 -2 14 2
rect 18 -2 26 2
rect -2 -3 26 -2
<< labels >>
flabel metal1 4 100 4 100 4 FreeSans 26 0 0 0 vdd
flabel metal1 12 45 12 45 4 FreeSans 26 0 0 0 Y
flabel metal1 4 0 4 0 4 FreeSans 26 0 0 0 gnd
flabel metal1 4 35 4 35 4 FreeSans 26 0 0 0 A
flabel metal1 20 55 20 55 4 FreeSans 26 0 0 0 B
<< end >>

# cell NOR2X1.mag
magic
tech scmos
<< nwell >>
rect -8 48 32 105
<< ntransistor >>
rect 7 6 9 16
rect 15 6 17 16
<< ptransistor >>
rect 7 54 9 94
rect 12 54 14 94
<< ndiffusion >>
rect 2 15 7 16
rect 6 6 7 15
rect 9 15 15 16
rect 9 6 10 15
rect 14 6 15 15
rect 17 15 22 16
rect 17 6 18 15
<< pdiffusion >>
rect 2 93 7 94
rect 6 54 7 93
rect 9 54 12 94
rect 14 93 19 94
rect 14 54 15 93
<< ndcontact >>
rect 2 6 6 15
rect 10 6 14 15
rect 18 6 22 15
<< pdcontact >>
rect 2 54 6 93
rect 15 54 19 93
<< psubstratepcontact >>
rect -2 -2 2 2
rect 14 -2 18 2
<< nsubstratencontact >>
rect -2 98 2 102
rect 14 98 18 102
<< polysilicon >>
rect 7 94 9 96
rect 12 94 14 96
rect 7 23 9 54
rect 12 53 14 54
rect 12 51 17 53
rect 6 19 9 23
rect 7 16 9 19
rect 15 47 18 51
rect 15 16 17 47
rect 7 4 9 6
rect 15 4 17 6
<< polycontact >>
rect 2 19 6 23
rect 18 47 22 51
<< metal1 >>
rect -2 102 26 103
rect 2 98 14 102
rect 18 98 26 102
rect -2 97 26 98
rect 2 93 6 97
rect 15 93 19 94
rect 10 54 15 58
rect 11 37 14 54
rect 18 43 22 47
rect 10 33 14 37
rect 2 23 6 27
rect 11 16 14 33
rect 2 15 6 16
rect 10 15 14 16
rect 18 15 22 16
rect 2 3 6 6
rect 18 3 22 6
rect -2 2 26 3
rect 2 -2 14 2
rect 18 -2 26 2
rect -2 -3 26 -2
<< labels >>
flabel metal1 4 100 4 100 4 FreeSans 26 0 0 0 vdd
flabel metal1 20 45 20 45 4 FreeSans 26 0 0 0 B
flabel metal1 4 0 4 0 4 FreeSans 26 0 0 0 gnd
flabel metal1 12 35 12 35 4 FreeSans 26 0 0 0 Y
flabel metal1 4 25 4 25 4 FreeSans 26 0 0 0 A
<< end >>

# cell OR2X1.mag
magic
tech scmos
<< nwell >>
rect -8 48 40 105
<< ntransistor >>
rect 7 6 9 16
rect 15 6 17 16
rect 23 6 25 16
<< ptransistor >>
rect 7 54 9 94
rect 12 54 14 94
rect 20 74 22 94
<< ndiffusion >>
rect 2 15 7 16
rect 6 6 7 15
rect 9 15 15 16
rect 9 6 10 15
rect 14 6 15 15
rect 17 15 23 16
rect 17 6 18 15
rect 22 6 23 15
rect 25 15 30 16
rect 25 6 26 15
<< pdiffusion >>
rect 2 93 7 94
rect 6 54 7 93
rect 9 54 12 94
rect 14 93 20 94
rect 14 54 15 93
rect 19 74 20 93
rect 22 93 27 94
rect 22 74 23 93
<< ndcontact >>
rect 2 6 6 15
rect 10 6 14 15
rect 18 6 22 15
rect 26 6 30 15
<< pdcontact >>
rect 2 54 6 93
rect 15 54 19 93
rect 23 74 27 93
<< psubstratepcontact >>
rect -2 -2 2 2
rect 14 -2 18 2
<< nsubstratencontact >>
rect -2 98 2 102
rect 14 98 18 102
<< polysilicon >>
rect 7 94 9 96
rect 12 94 14 96
rect 20 94 22 96
rect 20 73 22 74
rect 20 71 25 73
rect 7 23 9 54
rect 12 43 14 54
rect 12 41 17 43
rect 15 33 17 41
rect 6 19 9 23
rect 7 16 9 19
rect 15 16 17 29
rect 23 16 25 71
rect 7 4 9 6
rect 15 4 17 6
rect 23 4 25 6
<< polycontact >>
rect 19 47 23 51
rect 14 29 18 33
rect 2 19 6 23
<< metal1 >>
rect -2 102 34 103
rect 2 98 14 102
rect 18 98 34 102
rect -2 97 34 98
rect 2 93 6 94
rect 15 93 19 97
rect 23 93 27 94
rect 24 71 30 74
rect 2 51 6 54
rect 2 48 19 51
rect 27 47 30 71
rect 19 39 22 47
rect 26 43 30 47
rect 10 33 14 37
rect 19 36 24 39
rect 11 29 14 33
rect 2 23 6 27
rect 21 24 24 36
rect 11 21 24 24
rect 11 16 14 21
rect 27 16 30 43
rect 2 15 6 16
rect 10 15 14 16
rect 18 15 22 16
rect 26 15 30 16
rect 2 3 6 6
rect 18 3 22 6
rect -2 2 34 3
rect 2 -2 14 2
rect 18 -2 34 2
rect -2 -3 34 -2
<< labels >>
flabel metal1 28 45 28 45 4 FreeSans 26 0 0 0 Y
flabel metal1 12 35 12 35 4 FreeSans 26 0 0 0 B
flabel metal1 4 100 4 100 4 FreeSans 26 0 0 0 vdd
flabel metal1 4 0 4 0 4 FreeSans 26 0 0 0 gnd
flabel metal1 4 25 4 25 4 FreeSans 26 0 0 0 A
<< end >>

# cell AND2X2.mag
magic
tech scmos
<< nwell >>
rect -8 48 40 105
<< ntransistor >>
rect 7 6 9 26
rect 12 6 14 26
rect 20 6 22 26
<< ptransistor >>
rect 7 74 9 94
rect 15 74 17 94
rect 23 54 25 94
<< ndiffusion >>
rect 2 25 7 26
rect 6 6 7 25
rect 9 6 12 26
rect 14 25 20 26
rect 14 6 15 25
rect 19 6 20 25
rect 22 25 27 26
rect 22 6 23 25
<< pdiffusion >>
rect 2 93 7 94
rect 6 74 7 93
rect 9 93 15 94
rect 9 74 10 93
rect 14 74 15 93
rect 17 92 23 94
rect 17 74 18 92
rect 22 58 23 92
rect 18 56 23 58
rect 20 54 23 56
rect 25 93 30 94
rect 25 54 26 93
<< ndcontact >>
rect 2 6 6 25
rect 15 6 19 25
rect 23 6 27 25
<< pdcontact >>
rect 2 74 6 93
rect 10 74 14 93
rect 18 58 22 92
rect 26 54 30 93
<< psubstratepcontact >>
rect -2 -2 2 2
rect 14 -2 18 2
<< nsubstratencontact >>
rect -2 98 2 102
rect 14 98 18 102
<< polysilicon >>
rect 7 94 9 96
rect 15 94 17 96
rect 23 94 25 96
rect 7 73 9 74
rect 5 71 9 73
rect 5 41 7 71
rect 6 37 7 41
rect 15 39 17 74
rect 5 30 7 37
rect 16 37 17 39
rect 5 28 9 30
rect 7 26 9 28
rect 12 26 14 35
rect 23 33 25 54
rect 24 31 25 33
rect 20 26 22 29
rect 7 4 9 6
rect 12 4 14 6
rect 20 4 22 6
<< polycontact >>
rect 2 37 6 41
rect 12 35 16 39
rect 20 29 24 33
<< metal1 >>
rect -2 102 34 103
rect 2 98 14 102
rect 18 98 34 102
rect -2 97 34 98
rect 2 93 6 97
rect 10 93 14 94
rect 11 53 14 74
rect 18 92 22 97
rect 18 56 22 58
rect 26 93 30 94
rect 11 50 23 53
rect 10 43 14 47
rect 2 33 6 37
rect 11 39 14 43
rect 11 36 12 39
rect 20 33 23 50
rect 27 47 30 54
rect 26 43 30 47
rect 9 30 20 32
rect 3 29 20 30
rect 3 27 12 29
rect 3 26 6 27
rect 27 26 30 43
rect 2 25 6 26
rect 23 25 30 26
rect 27 21 30 25
rect 15 3 19 6
rect -2 2 34 3
rect 2 -2 14 2
rect 18 -2 34 2
rect -2 -3 34 -2
<< labels >>
flabel metal1 4 100 4 100 4 FreeSans 26 0 0 0 vdd
flabel metal1 4 0 4 0 4 FreeSans 26 0 0 0 gnd
flabel metal1 4 35 4 35 4 FreeSans 26 0 0 0 A
flabel metal1 12 45 12 45 4 FreeSans 26 0 0 0 B
flabel metal1 28 45 28 45 4 FreeSans 26 0 0 0 Y
<< end >>

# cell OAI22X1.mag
magic
tech scmos
<< nwell >>
rect -8 48 46 105
<< ntransistor >>
rect 7 6 9 26
rect 15 6 17 26
rect 23 6 25 26
rect 31 6 33 26
<< ptransistor >>
rect 7 54 9 94
rect 12 54 14 94
rect 26 54 28 94
rect 31 54 33 94
<< ndiffusion >>
rect 2 25 7 26
rect 6 6 7 25
rect 9 21 15 26
rect 9 7 10 21
rect 14 7 15 21
rect 9 6 15 7
rect 17 25 23 26
rect 17 6 18 25
rect 22 6 23 25
rect 25 12 26 26
rect 30 12 31 26
rect 25 6 31 12
rect 33 25 38 26
rect 33 6 34 25
<< pdiffusion >>
rect 2 93 7 94
rect 6 54 7 93
rect 9 54 12 94
rect 14 93 26 94
rect 14 54 15 93
rect 24 54 26 93
rect 28 54 31 94
rect 33 93 38 94
rect 33 54 34 93
<< ndcontact >>
rect 2 6 6 25
rect 10 7 14 21
rect 18 6 22 25
rect 26 12 30 26
rect 34 6 38 25
<< pdcontact >>
rect 2 54 6 93
rect 15 54 24 93
rect 34 54 38 93
<< psubstratepcontact >>
rect -2 -2 2 2
rect 14 -2 18 2
rect 30 -2 34 2
<< nsubstratencontact >>
rect -2 98 2 102
rect 14 98 18 102
rect 30 98 34 102
<< polysilicon >>
rect 7 94 9 96
rect 12 94 14 96
rect 26 94 28 96
rect 31 94 33 96
rect 7 49 9 54
rect 12 53 14 54
rect 26 53 28 54
rect 12 51 17 53
rect 4 47 9 49
rect 4 33 6 47
rect 15 43 17 51
rect 14 39 17 43
rect 7 26 9 31
rect 15 26 17 39
rect 25 51 28 53
rect 31 53 33 54
rect 31 51 37 53
rect 25 43 27 51
rect 25 39 26 43
rect 35 41 37 51
rect 25 31 27 39
rect 23 29 27 31
rect 35 30 37 37
rect 23 26 25 29
rect 31 28 37 30
rect 31 26 33 28
rect 7 4 9 6
rect 15 4 17 6
rect 23 4 25 6
rect 31 4 33 6
<< polycontact >>
rect 10 39 14 43
rect 6 31 10 35
rect 26 39 30 43
rect 34 37 38 41
<< metal1 >>
rect -2 102 42 103
rect 2 98 14 102
rect 18 98 30 102
rect 34 98 42 102
rect -2 97 42 98
rect 2 93 6 97
rect 15 93 24 94
rect 34 93 38 97
rect 10 43 14 47
rect 18 37 21 54
rect 26 43 30 47
rect 2 36 6 37
rect 18 36 22 37
rect 2 35 10 36
rect 2 33 6 35
rect 18 33 30 36
rect 34 33 38 37
rect 3 26 21 28
rect 27 26 30 33
rect 2 25 22 26
rect 10 21 14 22
rect 10 3 14 7
rect 34 25 38 26
rect 22 6 34 9
rect -2 2 42 3
rect 2 -2 14 2
rect 18 -2 30 2
rect 34 -2 42 2
rect -2 -3 42 -2
<< labels >>
flabel metal1 4 0 4 0 4 FreeSans 26 0 0 0 gnd
flabel metal1 4 100 4 100 4 FreeSans 26 0 0 0 vdd
flabel metal1 28 45 28 45 4 FreeSans 26 0 0 0 D
flabel metal1 36 35 36 35 4 FreeSans 26 0 0 0 C
flabel metal1 4 35 4 35 4 FreeSans 26 0 0 0 A
flabel metal1 12 45 12 45 4 FreeSans 26 0 0 0 B
flabel metal1 20 35 20 35 4 FreeSans 26 0 0 0 Y
<< end >>

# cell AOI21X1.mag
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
